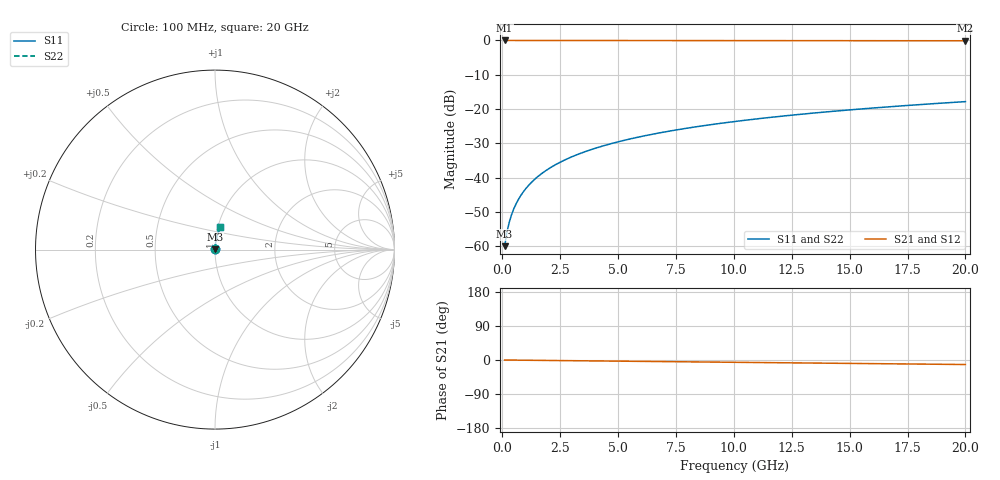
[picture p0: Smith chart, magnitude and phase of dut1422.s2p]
! Touchstone file exported from HFSS 2026.1.0
!  File:  C:/ffzhzh/LocalFiles/Ansys_Project_Files/temp_train_TMRDL_1422_1783166707_22436.aedt
!  Generated:  08:06:20 PM Jul  4, 2026
!  Design:  TMRDL
!  Project:  temp_train_TMRDL_1422_1783166707_22436
! Variables:
!  h_bsmrdl = 2um
!  h_ox = 20um
!  h_rdl = 5um
!  h_sub = 80um
!  h_tmrdl = 3.93um
!  h_tsv = 80um
!  h_via = 3um
!  l_bsmrdl = 300um
!  l_sub = 527.81um
!  l_tmrdl = 127.81um
!  m_sub = 200um
!  pitch = 52.32um
!  r_tsv = 6um
!  s_tmrdl = 10um
!  w_bsmrdl = 18um
!  w_sub = 500um
!  w_tmrdl = 23.11um
!  x_tsv_center1 = 139.365um
!  x_tsv_center2 = 457.365um
!  x_tsv_center3 = 608.285um
!  x_tsv_center4 = 926.285um
!  x_tsv_center5 = 1077.205um
!  x_tsv_center6 = 1395.205um
# GHz S MA R 50.000000
! Terminal data exported
! Port[1] = TM_RDL1_1_T1
! Port[2] = TM_RDL1_1_T2
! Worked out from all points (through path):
!   200 points, 100 MHz to 20 GHz, reference 50 ohm
!   highest |S21| = -0.01 dB at 100 MHz (marker M1); lowest = -0.1 dB at 20 GHz (marker M2)
!   group delay of S21, straight-line fit = 1.66 ps
!   lowest |S11| = -59.9 dB at 100 MHz (marker M3), VSWR 1.00, Z = 50.1 + j0.0725 ohm
!   |S11| at or under -10 dB: start of sweep to end of sweep
!   |S22| runs from -59.9 to -17.8 dB; largest |S21 - S12| = 4.5e-15
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0.1  0.00101 45.8  0.9993 -0.1  0.9993 -0.1  0.00101 45.8
! Gamma 0 0 0 0
! Port Impedance 50 0 50 0
0.2  0.00161 62.6  0.9993 -0.1  0.9993 -0.1  0.00161 62.6
0.3  0.002252 69.7  0.9992 -0.2  0.9992 -0.2  0.002252 69.7
0.4  0.002902 73.7  0.9992 -0.3  0.9992 -0.3  0.002902 73.7
0.5  0.003555 76.3  0.9992 -0.3  0.9992 -0.3  0.003555 76.3
0.6  0.00421 78.1  0.9991 -0.4  0.9991 -0.4  0.00421 78.1
0.8  0.005528 80.5  0.9991 -0.5  0.9991 -0.5  0.005528 80.5
1.1  0.007519 82.5  0.9991 -0.7  0.9991 -0.7  0.007519 82.5
1.5  0.01019 83.8  0.999 -0.9  0.999 -0.9  0.01019 83.8
1.8  0.01219 84.4  0.999 -1.1  0.999 -1.1  0.01219 84.4
2.1  0.01419 84.7  0.9989 -1.3  0.9989 -1.3  0.01419 84.7
2.7  0.01819 85.0  0.9988 -1.7  0.9988 -1.7  0.01819 85.0
3.5  0.02351 85.0  0.9985 -2.1  0.9985 -2.1  0.02351 85.0
4.2  0.02814 84.8  0.9983 -2.6  0.9983 -2.6  0.02814 84.8
5  0.03341 84.5  0.998 -3.0  0.998 -3.0  0.03341 84.5
5.9  0.0393 84.1  0.9976 -3.6  0.9976 -3.6  0.0393 84.1
6.8  0.04515 83.7  0.9972 -4.1  0.9972 -4.1  0.04515 83.7
8.3  0.05485 82.9  0.9965 -5.0  0.9965 -5.0  0.05485 82.9
10.1  0.0664 82.0  0.9956 -6.1  0.9956 -6.1  0.0664 82.0
13.4  0.08737 80.2  0.9936 -8.1  0.9936 -8.1  0.08737 80.2
16.7  0.1081 78.4  0.9912 -10.0  0.9912 -10.0  0.1081 78.4
20  0.1285 76.6  0.9885 -11.9  0.9885 -11.9  0.1285 76.6
